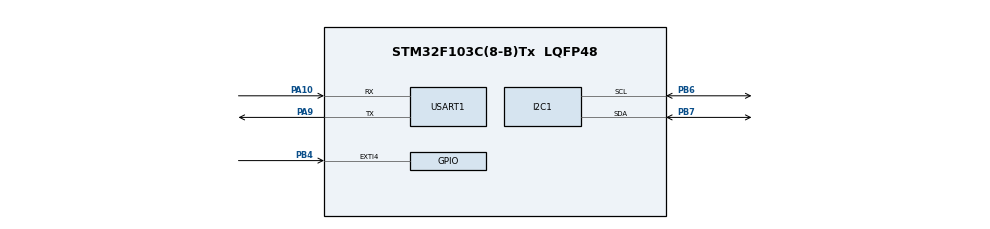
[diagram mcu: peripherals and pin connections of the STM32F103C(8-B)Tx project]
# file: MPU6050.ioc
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I2C1.I2C_Mode=I2C_Fast
Mcu.Family=STM32F1
Mcu.Name=STM32F103C(8-B)Tx
Mcu.Package=LQFP48
NVIC.EXTI4_IRQn=true\:0\:0\:false\:false\:true\:true
NVIC.PriorityGroup=NVIC_PRIORITYGROUP_4
PA10.Mode=Asynchronous
PA10.Signal=USART1_RX
PA13.Mode=JTAG_4_pins
PA13.Signal=SYS_JTMS-SWDIO
PA14.Mode=JTAG_4_pins
PA14.Signal=SYS_JTCK-SWCLK
PA15.Mode=JTAG_4_pins
PA15.Signal=SYS_JTDI
PA9.Mode=Asynchronous
PA9.Signal=USART1_TX
PB3.Mode=JTAG_4_pins
PB3.Signal=SYS_JTDO-TRACESWO
PB4.Signal=GPXTI4
PB6.Mode=I2C
PB6.Signal=I2C1_SCL
PB7.Mode=I2C
PB7.Signal=I2C1_SDA
ProjectManager.HeapSize=0x200
ProjectManager.StackSize=0x400
ProjectManager.TargetToolchain=Makefile
RCC.APB1Freq_Value=8000000
RCC.APB2Freq_Value=8000000
USART1.VirtualMode=VM_ASYNC
board=custom

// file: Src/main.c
/* USER CODE BEGIN Header */
/**
  ******************************************************************************
  * @file           : main.c
  * @brief          : Main program body
  ******************************************************************************
  ** This notice applies to any and all portions of this file
  * that are not between comment pairs USER CODE BEGIN and
  * USER CODE END. Other portions of this file, whether
  * inserted by the user or by software development tools
  * are owned by their respective copyright owners.
  *
  * COPYRIGHT(c) 2018 STMicroelectronics
  *
  * Redistribution and use in source and binary forms, with or without modification,
  * are permitted provided that the following conditions are met:
  *   1. Redistributions of source code must retain the above copyright notice,
  *      this list of conditions and the following disclaimer.
  *   2. Redistributions in binary form must reproduce the above copyright notice,
  *      this list of conditions and the following disclaimer in the documentation
  *      and/or other materials provided with the distribution.
  *   3. Neither the name of STMicroelectronics nor the names of its contributors
  *      may be used to endorse or promote products derived from this software
  *      without specific prior written permission.
  *
  * THIS SOFTWARE IS PROVIDED BY THE COPYRIGHT HOLDERS AND CONTRIBUTORS "AS IS"
  * AND ANY EXPRESS OR IMPLIED WARRANTIES, INCLUDING, BUT NOT LIMITED TO, THE
  * IMPLIED WARRANTIES OF MERCHANTABILITY AND FITNESS FOR A PARTICULAR PURPOSE ARE
  * DISCLAIMED. IN NO EVENT SHALL THE COPYRIGHT HOLDER OR CONTRIBUTORS BE LIABLE
  * FOR ANY DIRECT, INDIRECT, INCIDENTAL, SPECIAL, EXEMPLARY, OR CONSEQUENTIAL
  * DAMAGES (INCLUDING, BUT NOT LIMITED TO, PROCUREMENT OF SUBSTITUTE GOODS OR
  * SERVICES; LOSS OF USE, DATA, OR PROFITS; OR BUSINESS INTERRUPTION) HOWEVER
  * CAUSED AND ON ANY THEORY OF LIABILITY, WHETHER IN CONTRACT, STRICT LIABILITY,
  * OR TORT (INCLUDING NEGLIGENCE OR OTHERWISE) ARISING IN ANY WAY OUT OF THE USE
  * OF THIS SOFTWARE, EVEN IF ADVISED OF THE POSSIBILITY OF SUCH DAMAGE.
  *
  ******************************************************************************
  */
/* USER CODE END Header */

#include "main.h"

/* USER CODE BEGIN Includes */
#include "sd_hal_mpu6050.h"
/* USER CODE END Includes */

I2C_HandleTypeDef hi2c1;

UART_HandleTypeDef huart1;

/* USER CODE BEGIN PV */
SD_MPU6050 mpu1;
/* USER CODE END PV */

void SystemClock_Config(void);
static void MX_GPIO_Init(void);
static void MX_I2C1_Init(void);
static void MX_USART1_UART_Init(void);

int main(void)
{
  /* USER CODE BEGIN 1 */
  SD_MPU6050_Result result ;
  uint8_t mpu_ok[3] = {"OK\n"};
  uint8_t mpu_not[4] = {"NOK\n"};
  /* USER CODE END 1 */

  /* MCU Configuration--------------------------------------------------------*/

  /* Reset of all peripherals, Initializes the Flash interface and the Systick. */
  HAL_Init();

  /* Configure the system clock */
  SystemClock_Config();

  /* Initialize all configured peripherals */
  MX_GPIO_Init();
  MX_I2C1_Init();
  MX_USART1_UART_Init();

  /* Infinite loop */
  while (1)
  {

    /* USER CODE BEGIN 3 */
    result = SD_MPU6050_Init(&hi2c1,&mpu1,SD_MPU6050_Device_0,SD_MPU6050_Accelerometer_2G,SD_MPU6050_Gyroscope_250s );
    HAL_Delay(100);
    if(result == SD_MPU6050_Result_Ok)
    {
//      HAL_UART_Transmit(&huart1,mpu_ok,(uint16_t)15, 1000);
    }
    else
    {
//      HAL_UART_Transmit(&huart1,mpu_not,(uint16_t)17, 1000);
    }
    SD_MPU6050_ReadTemperature(&hi2c1,&mpu1);
    float tempf = mpu1.Temperature;
    SD_MPU6050_ReadGyroscope(&hi2c1,&mpu1);
    int16_t g_x = mpu1.Gyroscope_X;
    int16_t g_y = mpu1.Gyroscope_Y;
    int16_t g_z = mpu1.Gyroscope_Z;

    SD_MPU6050_ReadAccelerometer(&hi2c1,&mpu1);
    int16_t a_x = mpu1.Accelerometer_X;
    int16_t a_y = mpu1.Accelerometer_Y;
    int16_t a_z = mpu1.Accelerometer_Z;
//    unsigned char data[16];
//    data[0] = (temp>>8) & 0x0FF;
//    data[1] = temp & 0x0FF;
//
//    data[2] = (g_x>>8) & 0x0FF;
//    data[3] = g_x & 0x0FF;
//    data[4] = (g_y>>8) & 0x0FF;
//    data[5] = g_y & 0x0FF;
//    data[6] = (g_z>>8) & 0x0FF;
//    data[7] = g_z & 0x0FF;
//
//    data[8] = (a_x>>8) & 0x0FF;
//    data[9] = a_x & 0x0FF;
//    data[10] = (a_y>>8) & 0x0FF;
//    data[11] = a_y & 0x0FF;
//    data[12] = (a_z>>8) & 0x0FF;
//    data[13] = a_z & 0x0FF;
//
//    data[14] = 255;
//    data[15] = 255;

//    HAL_UART_Transmit(&huart1, data, sizeof(data), 1000);

    float fg_x = ((float)g_x)/16384.0;
    float fg_y = ((float)g_y)/16384.0;
    float fg_z = ((float)g_z)/16384.0;
    float fa_x = ((float)a_x)/16384.0;
    float fa_y = ((float)a_y)/16384.0;
    float fa_z = ((float)a_z)/16384.0;

    char *stemp = (tempf < 0) ? "-" : "+";
    char *sg_x = (fg_x < 0) ? "-" : "+";
    char *sg_y = (fg_y < 0) ? "-" : "+";
    char *sg_z = (fg_z < 0) ? "-" : "+";
    char *sa_x = (fa_x < 0) ? "-" : "+";
    char *sa_y = (fa_y < 0) ? "-" : "+";
    char *sa_z = (fa_z < 0) ? "-" : "+";

    tempf = (tempf < 0) ? -tempf : tempf;
    fg_x = (fg_x < 0) ? -fg_x : fg_x;
    fg_y = (fg_y < 0) ? -fg_y : fg_y;
    fg_z = (fg_z < 0) ? -fg_z : fg_z;
    fa_x = (fa_x < 0) ? -fa_x : fa_x;
    fa_y = (fa_y < 0) ? -fa_y : fa_y;
    fa_z = (fa_z < 0) ? -fa_z : fa_z;

    int itemp = tempf;
    int ig_x = fg_x;
    int ig_y = fg_y;
    int ig_z = fg_z;
    int ia_x = fa_x;
    int ia_y = fa_y;
    int ia_z = fa_z;

    int dtemp = tempf*1000;
    int dg_x = fg_x*1000;
    int dg_y = fg_y*1000;
    int dg_z = fg_z*1000;
    int da_x = fa_x*1000;
    int da_y = fa_y*1000;
    int da_z = fa_z*1000;

    char str[1000];
    sprintf(str, "Temp: %s%d.%03d ||| Gyro: %s%d.%03d, %s%d.%03d, %s%d.%03d ||| Accel: %s%d.%03d, %s%d.%03d, %s%d.%03d \n", stemp, itemp, dtemp, sg_x, ig_x, dg_x, sg_y, ig_y, dg_y, sg_z, ig_z, dg_z, sa_x, ia_x, da_x, sa_y, ia_y, da_y, sa_z, ia_z, da_z);
    int i = 0;
    for(; i < sizeof(str); i++){
        if(str[i] == '\n') break;
    }
    HAL_UART_Transmit (&huart1, (uint8_t *)str, i+2, 1000);

//  float fg_x = ((float)g_x)/16384.0;
//  float fg_y = ((float)g_y)/16384.0;
//  float fg_z = ((float)g_z)/16384.0;
//
//  float fa_x = ((float)a_x)/16384.0;
//  float fa_y = ((float)a_y)/16384.0;
//  float fa_z = ((float)a_z)/16384.0;
//
//  char str[200];
//  sprintf(str, "Temp: %2.2f ||| Gyro: %2.2f, %2.2f, %2.2f ||| Accel: %2.2f, %2.2f, %2.2f \n", tempf, fg_x, fg_y, fg_z, fa_x, fa_y, fa_z);
//  HAL_UART_Transmit (&huart1, (uint8_t *)str, sizeof(str), 1000);
  }
  /* USER CODE END 3 */
}

void SystemClock_Config(void)
{
  RCC_OscInitTypeDef RCC_OscInitStruct = {0};
  RCC_ClkInitTypeDef RCC_ClkInitStruct = {0};

  /**Initializes the CPU, AHB and APB busses clocks
  */
  RCC_OscInitStruct.OscillatorType = RCC_OSCILLATORTYPE_HSI;
  RCC_OscInitStruct.HSIState = RCC_HSI_ON;
  RCC_OscInitStruct.HSICalibrationValue = RCC_HSICALIBRATION_DEFAULT;
  RCC_OscInitStruct.PLL.PLLState = RCC_PLL_NONE;
  if (HAL_RCC_OscConfig(&RCC_OscInitStruct) != HAL_OK)
  {
    Error_Handler();
  }
  /**Initializes the CPU, AHB and APB busses clocks
  */
  RCC_ClkInitStruct.ClockType = RCC_CLOCKTYPE_HCLK|RCC_CLOCKTYPE_SYSCLK
                              |RCC_CLOCKTYPE_PCLK1|RCC_CLOCKTYPE_PCLK2;
  RCC_ClkInitStruct.SYSCLKSource = RCC_SYSCLKSOURCE_HSI;
  RCC_ClkInitStruct.AHBCLKDivider = RCC_SYSCLK_DIV1;
  RCC_ClkInitStruct.APB1CLKDivider = RCC_HCLK_DIV1;
  RCC_ClkInitStruct.APB2CLKDivider = RCC_HCLK_DIV1;

  if (HAL_RCC_ClockConfig(&RCC_ClkInitStruct, FLASH_LATENCY_0) != HAL_OK)
  {
    Error_Handler();
  }
}

static void MX_I2C1_Init(void)
{

  hi2c1.Instance = I2C1;
  hi2c1.Init.ClockSpeed = 400000;
  hi2c1.Init.DutyCycle = I2C_DUTYCYCLE_2;
  hi2c1.Init.OwnAddress1 = 0;
  hi2c1.Init.AddressingMode = I2C_ADDRESSINGMODE_7BIT;
  hi2c1.Init.DualAddressMode = I2C_DUALADDRESS_DISABLE;
  hi2c1.Init.OwnAddress2 = 0;
  hi2c1.Init.GeneralCallMode = I2C_GENERALCALL_DISABLE;
  hi2c1.Init.NoStretchMode = I2C_NOSTRETCH_DISABLE;
  if (HAL_I2C_Init(&hi2c1) != HAL_OK)
  {
    Error_Handler();
  }

}

static void MX_USART1_UART_Init(void)
{

  huart1.Instance = USART1;
  huart1.Init.BaudRate = 115200;
  huart1.Init.WordLength = UART_WORDLENGTH_8B;
  huart1.Init.StopBits = UART_STOPBITS_1;
  huart1.Init.Parity = UART_PARITY_NONE;
  huart1.Init.Mode = UART_MODE_TX_RX;
  huart1.Init.HwFlowCtl = UART_HWCONTROL_NONE;
  huart1.Init.OverSampling = UART_OVERSAMPLING_16;
  if (HAL_UART_Init(&huart1) != HAL_OK)
  {
    Error_Handler();
  }

}

static void MX_GPIO_Init(void)
{
  GPIO_InitTypeDef GPIO_InitStruct = {0};

  /* GPIO Ports Clock Enable */
  __HAL_RCC_GPIOA_CLK_ENABLE();
  __HAL_RCC_GPIOB_CLK_ENABLE();

  /*Configure GPIO pin : PB4 */
  GPIO_InitStruct.Pin = GPIO_PIN_4;
  GPIO_InitStruct.Mode = GPIO_MODE_IT_RISING;
  GPIO_InitStruct.Pull = GPIO_NOPULL;
  HAL_GPIO_Init(GPIOB, &GPIO_InitStruct);

  /* EXTI interrupt init*/
  HAL_NVIC_SetPriority(EXTI4_IRQn, 0, 0);
  HAL_NVIC_EnableIRQ(EXTI4_IRQn);

}

void Error_Handler(void)
{
}

/************************ (C) COPYRIGHT STMicroelectronics *****END OF FILE****/
